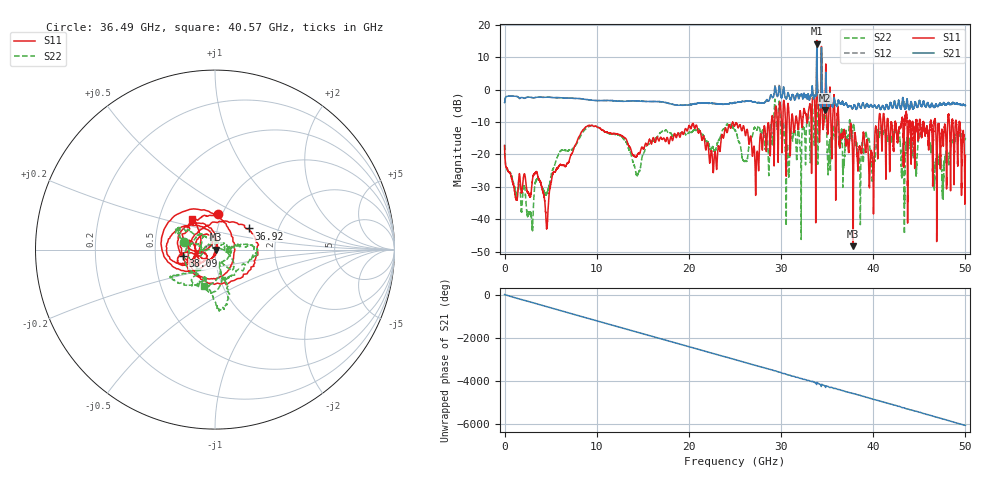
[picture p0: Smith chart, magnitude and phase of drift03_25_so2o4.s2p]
!Created with skrf (http://scikit-rf.org).
# Hz S RI R 50.0
!freq ReS11 ImS11 ReS21 ImS21 ReS12 ImS12 ReS22 ImS22
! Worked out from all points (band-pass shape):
!   10001 points, 300 kHz to 50 GHz, reference 50 ohm
!   highest |S21| = 14.20 dB at 33.88 GHz (marker M1); lowest = -6.2 dB at 34.79 GHz (marker M2)
!   |S21| within 3 dB of the highest: 33.86939 GHz to 33.88915 GHz (19.76 MHz wide, 0.0583 % of centre); 34.37674 GHz to 34.38989 GHz (13.15 MHz wide, 0.0382 % of centre)
!   lowest |S11| = -48.3 dB at 37.83 GHz (marker M3), VSWR 1.01, Z = 50.4 - j0.106 ohm
!   |S11| at or under -10 dB: start of sweep to 28.94 GHz; 36.26 GHz to 40.61 GHz (4.342 GHz wide, 11.3 % of centre); 46.75 GHz to 48.08 GHz (1.332 GHz wide, 2.81 % of centre) (the widest 3 of 60)
!   |S22| runs from -46.3 to 10.8 dB; largest |S21 - S12| = 0.83
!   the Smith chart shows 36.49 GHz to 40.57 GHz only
!   S11 on the Smith chart (normalised r, x): 36.49 GHz: 0.96, +0.39; 36.92 GHz: 1.41, +0.35; 38.09 GHz: 0.70, -0.05; 40.57 GHz: 0.74, +0.26
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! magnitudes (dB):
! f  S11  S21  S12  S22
! 300 kHz  -17.3  -4.0  -4.0  -17.0
! 2.82 GHz  -32.8  -2.4  -2.4  -38.1
! 4.56 GHz  -42.9  -2.3  -2.3  -32.1
! 8.335 GHz  -13.1  -2.8  -2.8  -13.9
! 14.44 GHz  -20.0  -3.5  -3.5  -26.3
! 16.67 GHz  -15.5  -3.7  -3.7  -14.3
! 22.82 GHz  -19.4  -4.3  -4.3  -19.1
! 25 GHz  -11.0  -4.0  -4.0  -12.6
! 27.39 GHz  -19.4  -4.1  -4.1  -12.3
! 29.6 GHz  -10.4  -2.0  -2.1  -11.7
! 30.7 GHz  -5.6  -1.4  -1.5  -17.2
! 33.34 GHz  -13.7  -0.4  -0.5  -7.1
! 33.88 GHz  15.2  14.2  13.8  10.7
! 34.79 GHz  -3.2  -6.2  -4.9  -8.6
! 36.49 GHz  -14.1  -4.4  -4.4  -15.1
! 36.92 GHz  -13.1  -4.4  -4.4  -18.4
! 37.83 GHz  -48.3  -5.5  -5.5  -11.1
! 38.09 GHz  -14.8  -5.6  -5.6  -17.0
! 40.57 GHz  -13.5  -4.9  -5.0  -13.4
! 41.67 GHz  -12.4  -5.9  -5.9  -14.9
! 47.58 GHz  -16.8  -4.3  -4.3  -29.5
! 50 GHz  -20.3  -4.9  -4.9  -15.2
